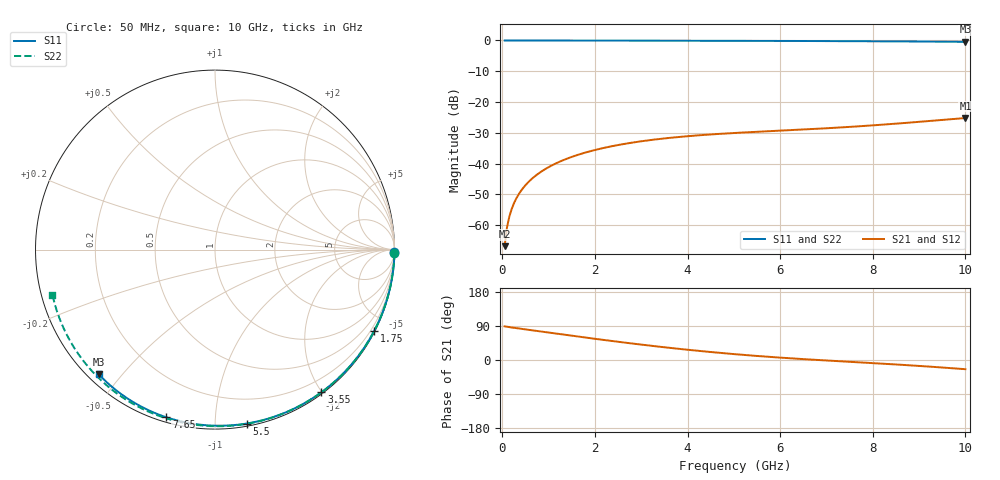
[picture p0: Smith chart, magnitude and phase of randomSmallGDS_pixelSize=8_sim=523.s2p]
! freq	dB(S11)	phase(S11)	dB(S12)	phase(S12)
!  dB(S21)	phase(S21)	dB(S22)	phase(S22)
!S-par simulation data
#  GHz  S  DB  R 50
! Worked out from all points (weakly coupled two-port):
!   200 points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, 50 MHz to 10 GHz, reference 50 ohm
!   highest |S21| = -25.20 dB at 10 GHz (marker M1); lowest = -66.8 dB at 50 MHz (marker M2)
!   lowest |S11| = -0.4 dB at 10 GHz (marker M3), VSWR 38.88, Z = 1.53 - j21.8 ohm
!   |S11| at or under -10 dB: nowhere
!   |S22| runs from -0.5 to 0.0 dB; largest |S21 - S12| = 0
!   S11 on the Smith chart (normalised r, x): 50 MHz: open; 1.75 GHz: 0.04, -4.18; 3.55 GHz: 0.02, -1.99; 5.5 GHz: 0.02, -1.20; 7.65 GHz: 0.02, -0.75; 10 GHz: 0.03, -0.44
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0.05  -0.00 -0.8  -66.85 88.9  -66.85 88.9  -0.00 -1.0
0.1  -0.00 -1.6  -60.85 87.8  -60.85 87.8  -0.00 -2.0
0.15  -0.00 -2.3  -57.35 86.8  -57.35 86.8  -0.00 -2.9
0.2  -0.00 -3.1  -54.88 85.9  -54.88 85.9  -0.00 -3.9
0.25  -0.00 -3.9  -52.97 85.0  -52.97 85.0  -0.00 -4.9
0.35  -0.00 -5.5  -50.09 83.3  -50.09 83.3  -0.01 -6.8
0.5  -0.01 -7.8  -47.04 80.8  -47.04 80.8  -0.01 -9.7
0.7  -0.01 -10.9  -44.17 77.4  -44.17 77.4  -0.02 -13.6
1  -0.02 -15.5  -41.16 72.4  -41.16 72.4  -0.02 -19.3
1.35  -0.03 -20.9  -38.69 66.5  -38.69 66.5  -0.03 -26.0
1.75  -0.03 -26.9  -36.62 60.0  -36.62 60.0  -0.04 -33.5
2.6  -0.05 -39.6  -33.71 46.6  -33.71 46.6  -0.06 -49.1
3.4  -0.07 -51.1  -32.00 35.0  -32.00 35.0  -0.09 -63.2
3.55  -0.07 -53.3  -31.75 32.9  -31.75 32.9  -0.09 -65.8
4.3  -0.09 -63.7  -30.76 23.4  -30.76 23.4  -0.11 -78.5
5.05  -0.12 -73.8  -30.03 15.1  -30.03 15.1  -0.14 -90.7
5.5  -0.13 -79.6  -29.67 10.7  -29.67 10.7  -0.16 -97.8
6.7  -0.18 -94.7  -28.78 0.8  -28.78 0.8  -0.23 -116.0
7.65  -0.24 -106.1  -27.95 -5.7  -27.95 -5.7  -0.29 -130.0
8.35  -0.29 -114.3  -27.21 -10.6  -27.21 -10.6  -0.36 -140.2
9.2  -0.36 -124.0  -26.20 -17.2  -26.20 -17.2  -0.44 -152.7
10  -0.45 -132.9  -25.20 -24.2  -25.20 -24.2  -0.54 -164.6
